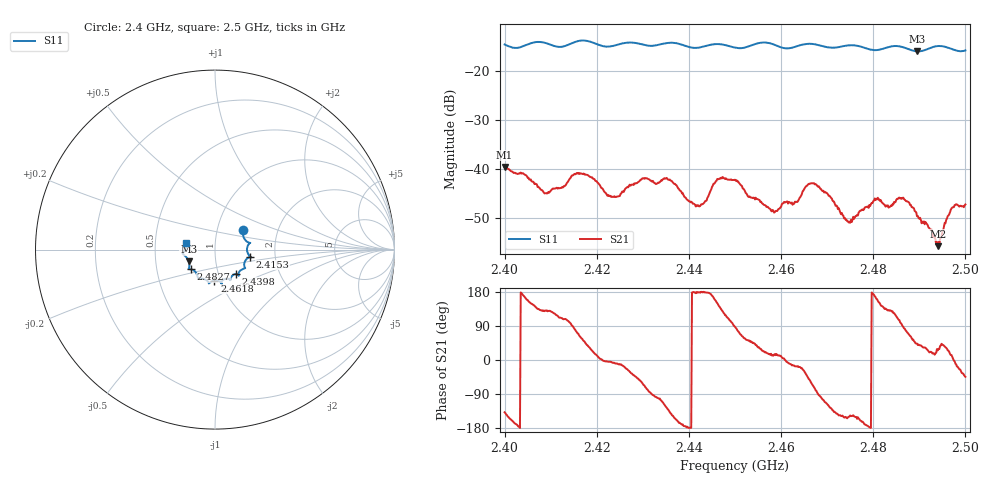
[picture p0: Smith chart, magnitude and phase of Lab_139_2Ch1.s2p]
# Hz S RI R 50
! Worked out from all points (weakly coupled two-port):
!   601 points, 2.4 GHz to 2.5 GHz, reference 50 ohm
!   highest |S21| = -39.54 dB at 2.4 GHz (marker M1); lowest = -55.7 dB at 2.494 GHz (marker M2)
!   lowest |S11| = -15.9 dB at 2.4895 GHz (marker M3), VSWR 1.38, Z = 37 - j5 ohm
!   |S11| at or under -10 dB: start of sweep to end of sweep
!   S12 and S22 are empty: the file has one direction only
!   S11 on the Smith chart (normalised r, x): 2.4 GHz: 1.33, +0.29; 2.4153 GHz: 1.48, -0.12; 2.4398 GHz: 1.21, -0.34; 2.4618 GHz: 0.94, -0.33; 2.4827 GHz: 0.75, -0.17; 2.5 GHz: 0.72, +0.06
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2.4e9  0.1553 0.1066  -0.00782 -0.00706  0 0  0 0
2.409e9  0.1915 0.0343  -0.00369 0.00436  0 0  0 0
2.415333e9  0.1964 -0.0389  0.00175 0.00871  0 0  0 0
2.416667e9  0.2024 -0.043  0.0049 0.00762  0 0  0 0
2.4235e9  0.1625 -0.0822  0.00519 -0.000709  0 0  0 0
2.433333e9  0.1309 -0.1335  -0.00135 -0.00719  0 0  0 0
2.439833e9  0.1156 -0.136  -0.00481 -8.51e-05  0 0  0 0
2.442667e9  0.0908 -0.1518  -0.00439 7.79e-06  0 0  0 0
2.446333e9  0.0849 -0.1704  -0.00658 0.00442  0 0  0 0
2.45e9  0.0655 -0.1624  0.000378 0.00782  0 0  0 0
2.458167e9  0.0366 -0.1868  0.00375 0.000845  0 0  0 0
2.461833e9  -0.00288 -0.1726  0.00453 -0.000793  0 0  0 0
2.466667e9  -0.0343 -0.1881  0.0033 -0.00642  0 0  0 0
2.4745e9  -0.0908 -0.1605  -0.00259 -0.0014  0 0  0 0
2.4805e9  -0.1141 -0.1192  -0.00471 0.0012  0 0  0 0
2.482667e9  -0.1351 -0.1093  -0.00298 0.00291  0 0  0 0
2.483333e9  -0.1403 -0.1088  -0.00271 0.00303  0 0  0 0
2.486167e9  -0.1454 -0.1033  -0.000394 0.00497  0 0  0 0
2.4895e9  -0.1459 -0.0659  0.00241 0.00227  0 0  0 0
2.494e9  -0.1803 -0.0227  0.00148 0.000707  0 0  0 0
2.497333e9  -0.1675 -0.00387  0.00411 0.000171  0 0  0 0
2.5e9  -0.1594 0.0386  0.00313 -0.00306  0 0  0 0
